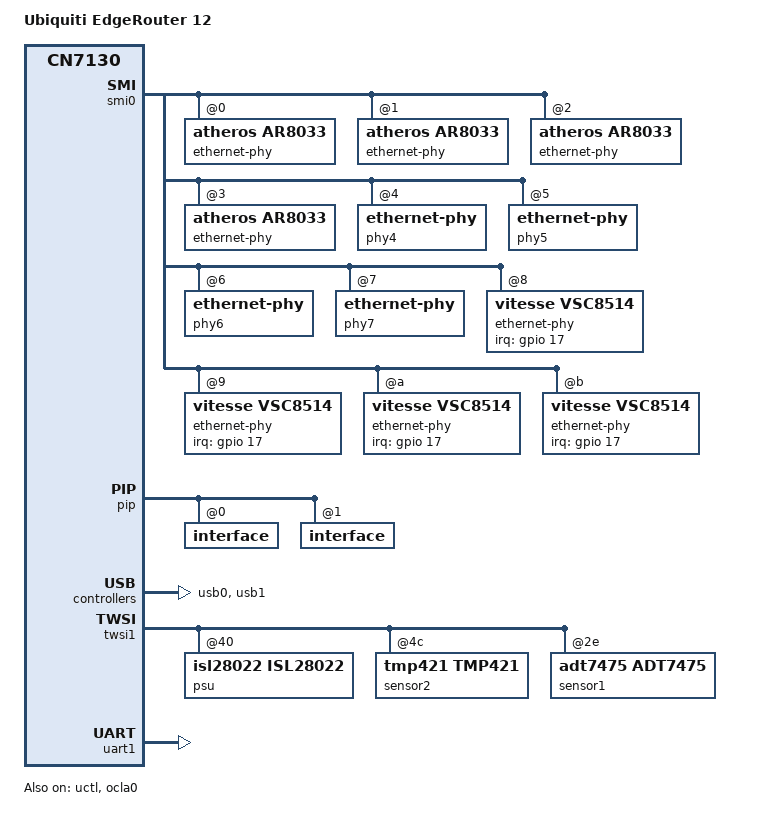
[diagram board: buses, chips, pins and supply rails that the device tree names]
// SPDX-License-Identifier: GPL-2.0-or-later OR MIT

#include "cn7130_ubnt_edgerouter-e300.dtsi"

/ {
	compatible = "ubnt,edgerouter-12", "cavium,cn7130";
	model = "Ubiquiti EdgeRouter 12";
};

&smi0 {
	status = "okay";

	ethernet-phy@0 {
		reg = <0>;
		device_type = "ethernet-phy";
		cavium,qlm-trim = "6,sgmii";
		compatible = "atheros,ar8033", "ethernet-phy-ieee802.3-c22";
	};

	ethernet-phy@1 {
		reg = <1>;
		device_type = "ethernet-phy";
		cavium,qlm-trim = "6,sgmii";
		compatible = "atheros,ar8033", "ethernet-phy-ieee802.3-c22";
	};

	ethernet-phy@2 {
		reg = <2>;
		device_type = "ethernet-phy";
		cavium,qlm-trim = "6,sgmii";
		compatible = "atheros,ar8033", "ethernet-phy-ieee802.3-c22";
	};

	ethernet-phy@3 {
		reg = <3>;
		device_type = "ethernet-phy";
		cavium,qlm-trim = "6,sgmii";
		compatible = "atheros,ar8033", "ethernet-phy-ieee802.3-c22";
	};

	phy4: ethernet-phy@4 {
		vitesse,reg-init = <0x1f 0x0 0x10 0xe 0xfdff 0x0 0x1f 0x0 0x2 0x11 0xc3ff 0x3c00 0x1f 0x0 0x3 0x10 0xff7f 0x80 0x1f 0x0 0x0 0x17 0xf8ff 0x200 0x0 0x7fff 0x8000>;
	};

	phy5: ethernet-phy@5 {
		sfp = <&sfp>;
		vitesse,reg-init = <0x1f 0x0 0x10 0xe 0xfdff 0x0 0x1f 0x0 0x2 0x11 0xc3ff 0x3c00 0x1f 0x0 0x3 0x10 0xff7f 0x80 0x1f 0x0 0x0 0x17 0xf8ff 0x200 0x0 0x7fff 0x8000>;
	};

	phy6: ethernet-phy@6 {
		vitesse,reg-init = <0x1f 0x0 0x10 0xe 0xfdff 0x0 0x1f 0x0 0x2 0x11 0xc3ff 0x3c00 0x1f 0x0 0x3 0x10 0xff7f 0x80 0x1f 0x0 0x0>;
	};

	phy7: ethernet-phy@7 {
		vitesse,reg-init = <0x1f 0x0 0x10 0xe 0xfdff 0x0 0x1f 0x0 0x2 0x11 0xc3ff 0x3c00 0x1f 0x0 0x3 0x10 0xff7f 0x80 0x1f 0x0 0x0>;
	};

	ethernet-phy@8 {
		reg = <8>;
		interrupts = <17 8>;
		interrupt-parent = <&gpio>;
		compatible = "vitesse,vsc8514", "ethernet-phy-ieee802.3-c22";
	};
	
	ethernet-phy@9 {
		reg = <9>;
		device_type = "ethernet-phy";
		interrupts = <17 8>;
		interrupt-parent = <&gpio>;
		compatible = "vitesse,vsc8514", "ethernet-phy-ieee802.3-c22";
	};

	ethernet-phy@10 {
		reg = <10>;
		device_type = "ethernet-phy";
		interrupts = <17 8>;
		interrupt-parent = <&gpio>;
		compatible = "vitesse,vsc8514", "ethernet-phy-ieee802.3-c22";
	};

	ethernet-phy@11 {
		reg = <11>;
		device_type = "ethernet-phy";
		interrupts = <17 8>;
		interrupt-parent = <&gpio>;
		compatible = "vitesse,vsc8514", "ethernet-phy-ieee802.3-c22";
	};
};

&pip {
	interface@0 {
		status = "okay";

		ethernet@0 {
			label = "lan11";
			status = "okay";
			phy-handle = <&phy4>;
			nvmem-cells = <&macaddr_eeprom_0>;
			nvmem-cell-names = "mac-address";
		};

		ethernet@1 {
			label = "lan10";
			status = "okay";	
		};

		ethernet@2 {
			label = "lan8";
			status = "okay";
		};

		ethernet@3 {
			label = "lan9";
			status = "okay";
		};
	};

	interface@1 {
		status = "okay";

		ethernet@0 {
			label = "itf0";
			status = "okay";
			cavium,force_link_up,1000;
			nvmem-cells = <&macaddr_eeprom_0>;
			nvmem-cell-names = "mac-address";
			mac-address-increment = <(4)>;
		};

		ethernet@1 {
			label = "itf1";
			status = "okay";
			cavium,force_link_up,1000;
			nvmem-cells = <&macaddr_eeprom_0>;
			nvmem-cell-names = "mac-address";
			mac-address-increment = <(5)>;
		};

		ethernet@2 {
			label = "itf2";
			status = "okay";
			cavium,force_link_up,1000;
			nvmem-cells = <&macaddr_eeprom_0>;
			nvmem-cell-names = "mac-address";
			mac-address-increment = <(6)>;
		};

		ethernet@3 {
			label = "itf3";
			status = "okay";
			cavium,force_link_up,1000;
			nvmem-cells = <&macaddr_eeprom_0>;
			nvmem-cell-names = "mac-address";
			mac-address-increment = <(7)>;
		};
	};
};

&uctl {
	status = "okay";
}

&usb0 {
	status = "okay";
	refclk-type-ss = "dlmc_ref_clk0";
	xhci0: xhci@1680000000000 {
		status = "okay";
	};
};

&usb1 {
	status = "okay";
	refclk-type-ss = "dlmc_ref_clk0";
	xhci1: xhci@1690000000000 {
		status = "okay";
	}
};

&twsi1 {
	status = "okay";

	psu@40 {
		reg = <64>;
		compatible = "isl28022,isl28022";
	};

	sensor2@4c {
		reg = <76>;
		#size-cells = <0x0>;
		#address-cells = <0x1>;
		compatible = "tmp421,tmp421";
	};

	sensor1@2e {
		reg = <46>;
		#size-cells = <0x0>;
		#address-cells = <0x1>;
		compatible = "adt7475,adt7475";
	};
};

&uart1 {
	status = "okay";
};

&ocla0 {
	status = "okay";
}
